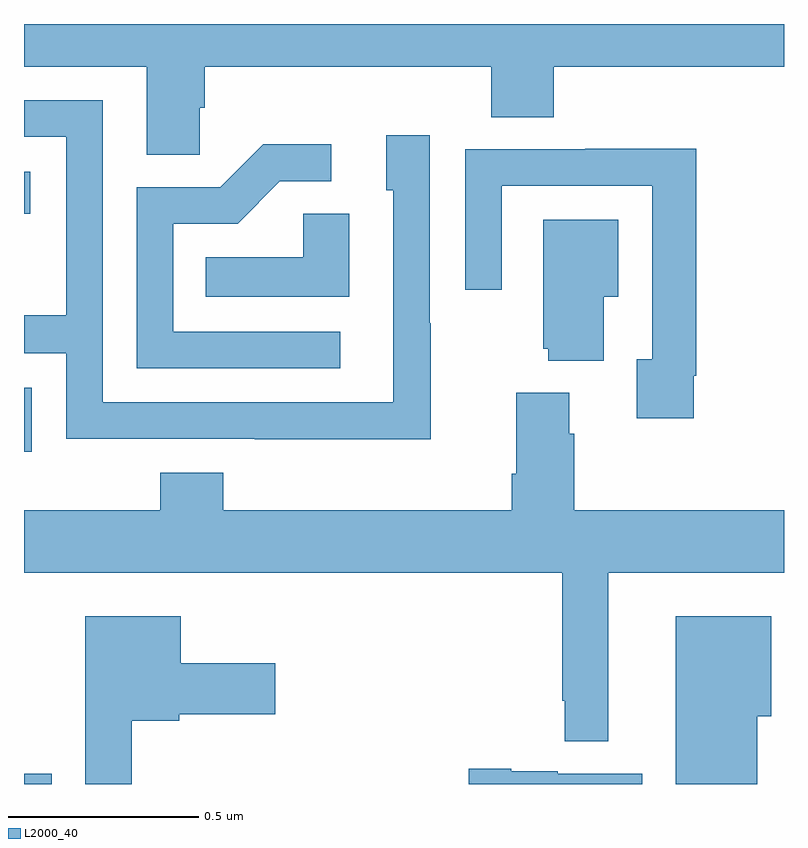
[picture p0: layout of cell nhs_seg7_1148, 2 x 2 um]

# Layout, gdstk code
import gdstk
lib = gdstk.Library(unit=1e-6, precision=1e-09)
def R(c, l, rs):  # rectangles x0, y0, x1, y1
    for r in rs: c.add(gdstk.rectangle(r[:2], r[2:], *l))
def P(c, l, *ps):  # polygons
    for p in ps: c.add(gdstk.Polygon(p, *l))
L2000_40 = (2000, 40)

nhs_seg7_1148 = lib.new_cell('nhs_seg7_1148')
R(nhs_seg7_1148, L2000_40, [(126,1060,126.073,1060.027), (126,1060.875,126.021,1061.043), (126,1061.501,126.016,1061.611)])
P(nhs_seg7_1148, L2000_40, [(126.462,1061.779),(126.476,1061.779),(126.476,1061.888),(127.229,1061.888),(127.229,1061.755),(127.394,1061.755),(127.394,1061.888),(128,1061.888),(128,1062),(126,1062),(126,1061.888),(126.323,1061.888),(126.323,1061.656),(126.462,1061.656)],
  [(127.071,1061.213),(127.068,1061.213),(127.068,1061.707),(126.953,1061.707),(126.953,1061.562),(126.972,1061.562),(126.972,1061.004),(126.207,1061.004),(126.207,1061.799),(126,1061.799),(126,1061.703),(126.111,1061.703),(126.111,1061.234),(126.001,1061.234),(126.001,1061.133),(126.111,1061.133),(126.111,1060.908),(126.607,1060.908),(126.607,1060.907),(127.071,1060.907)],
  [(126.832,1061.19),(126.393,1061.19),(126.393,1061.475),(126.562,1061.475),(126.673,1061.586),(126.808,1061.586),(126.808,1061.684),(126.629,1061.684),(126.516,1061.571),(126.297,1061.571),(126.297,1061.094),(126.832,1061.094)],
  [(127.762,1061.074),(127.769,1061.074),(127.769,1061.672),(127.477,1061.672),(127.477,1061.67),(127.161,1061.67),(127.161,1061.301),(127.257,1061.301),(127.257,1061.574),(127.653,1061.574),(127.653,1061.118),(127.613,1061.118),(127.613,1060.962),(127.762,1060.962)],
  [(126.856,1061.501),(126.735,1061.501),(126.735,1061.386),(126.478,1061.386),(126.478,1061.282),(126.856,1061.282)],
  [(127.525,1061.282),(127.564,1061.282),(127.564,1061.485),(127.367,1061.485),(127.367,1061.145),(127.379,1061.145),(127.379,1061.114),(127.525,1061.114)],
  [(127.537,1060.556),(128,1060.556),(128,1060.72),(127.448,1060.72),(127.448,1060.922),(127.435,1060.922),(127.435,1061.029),(127.295,1061.029),(127.295,1060.816),(127.283,1060.816),(127.283,1060.72),(126.524,1060.72),(126.524,1060.819),(126.359,1060.819),(126.359,1060.72),(126,1060.72),(126,1060.556),(127.416,1060.556),(127.416,1060.219),(127.423,1060.219),(127.423,1060.112),(127.537,1060.112)],
  [(127.93,1060.178),(127.966,1060.178),(127.966,1060.441),(127.715,1060.441),(127.715,1060),(127.93,1060)],
  [(126.283,1060.166),(126.408,1060.166),(126.408,1060.184),(126.661,1060.184),(126.661,1060.318),(126.412,1060.318),(126.412,1060.441),(126.161,1060.441),(126.161,1060),(126.283,1060)],
  [(127.627,1060.027),(127.404,1060.027),(127.404,1060.033),(127.282,1060.033),(127.282,1060.04),(127.17,1060.04),(127.17,1060),(127.627,1060)])

lib.write_gds('nhs_seg7_1148.gds')
